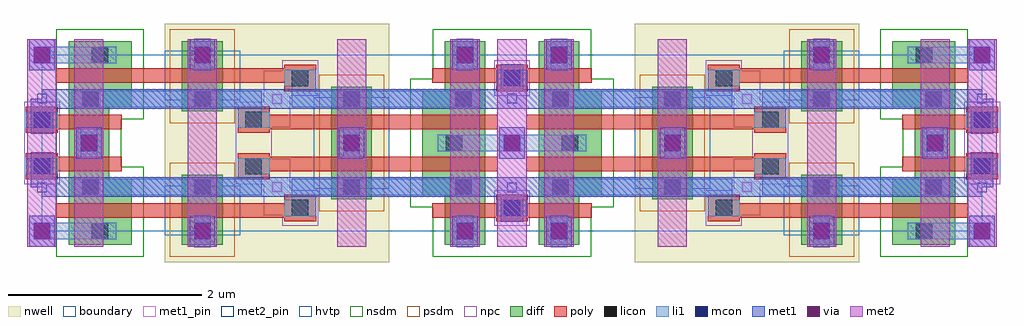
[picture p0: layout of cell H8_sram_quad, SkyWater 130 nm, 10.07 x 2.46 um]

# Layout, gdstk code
from math import pi, radians
import gdstk
lib = gdstk.Library(unit=1e-6, precision=1e-09)
def R(c, l, rs):  # rectangles x0, y0, x1, y1
    for r in rs: c.add(gdstk.rectangle(r[:2], r[2:], *l))
nwell = (64, 20)
diff = (65, 20)
poly = (66, 20)
licon = (66, 44)
li1 = (67, 20)
mcon = (67, 44)
met1_pin = (68, 16)
met1 = (68, 20)
via = (68, 44)
met2_pin = (69, 16)
met2 = (69, 20)
hvtp = (78, 44)
nsdm = (93, 44)
psdm = (94, 20)
npc = (95, 20)
boundary = (235, 4)

h8_sram_bitcell = lib.new_cell('H8_sram_bitcell')
R(h8_sram_bitcell, nwell, [(1.265,-0.32,3.585,1.23)])
R(h8_sram_bitcell, diff, [(0.275,-0.14,0.925,0.54), (1.445,-0.14,1.865,0.58), (4.155,-0.14,4.575,0.37), (2.985,0.33,3.405,1.05), (3.925,0.37,4.575,1.05), (0.275,0.54,0.695,1.05)])
R(h8_sram_bitcell, poly, [(2.5,0.105,2.83,0.14), (4.685,0.105,5.015,0.14), (0.145,0.14,2.83,0.29), (4.025,0.14,5.015,0.29), (2.5,0.29,2.83,0.375), (4.685,0.29,5.015,0.375), (-0.165,0.535,0.165,0.62), (2.02,0.535,2.35,0.62), (-0.165,0.62,0.825,0.77), (2.02,0.62,4.705,0.77), (-0.165,0.77,0.165,0.805), (2.02,0.77,2.35,0.805)])
R(h8_sram_bitcell, licon, [(0.515,-0.085,0.685,0.085), (1.57,-0.085,1.74,0.085), (4.28,-0.085,4.45,0.085), (2.58,0.155,2.75,0.325), (4.765,0.155,4.935,0.325), (0.415,0.37,0.585,0.54), (1.57,0.37,1.74,0.54), (3.11,0.37,3.28,0.54), (4.265,0.37,4.435,0.54), (-0.085,0.585,0.085,0.755), (2.1,0.585,2.27,0.755), (0.4,0.825,0.57,0.995), (3.11,0.825,3.28,0.995), (4.165,0.825,4.335,0.995)])
R(h8_sram_bitcell, li1, [(1.57,-0.165,1.74,0.165), (4.28,-0.165,4.45,0.165), (-0.085,-0.085,0.765,0.085), (2.5,0.155,2.83,0.325), (4.685,0.155,5.015,0.325), (2.58,0.325,2.83,0.37), (0.335,0.37,2.27,0.54), (2.58,0.37,4.515,0.54), (2.02,0.54,2.27,0.585), (-0.165,0.585,0.165,0.755), (2.02,0.585,2.35,0.755), (0.4,0.745,0.57,1.075), (3.11,0.745,3.28,1.075), (4.085,0.825,4.935,0.995)])
R(h8_sram_bitcell, mcon, [(-0.085,-0.085,0.085,0.085), (1.57,-0.085,1.74,0.085), (4.28,-0.085,4.45,0.085), (4.765,0.155,4.935,0.325), (-0.085,0.585,0.085,0.755), (0.4,0.825,0.57,0.995), (3.11,0.825,3.28,0.995), (4.765,0.825,4.935,0.995)])
R(h8_sram_bitcell, met1_pin, [(2.375,0.405,2.475,0.505)])
R(h8_sram_bitcell, met1, [(-0.13,-0.16,0.13,0.16), (1.525,-0.16,1.785,0.16), (4.235,-0.16,4.495,0.16), (4.735,0.095,4.965,0.355), (0,0.355,4.965,0.455), (-0.115,0.455,4.85,0.555), (-0.115,0.555,0.115,0.815), (0.355,0.75,0.615,1.07), (3.065,0.75,3.325,1.07), (4.72,0.75,4.98,1.07)])
R(h8_sram_bitcell, via, [(-0.075,-0.075,0.075,0.075), (1.58,-0.075,1.73,0.075), (4.29,-0.075,4.44,0.075), (0.41,0.835,0.56,0.985), (3.12,0.835,3.27,0.985), (4.775,0.835,4.925,0.985)])
R(h8_sram_bitcell, met2_pin, [(-0.05,0.4,0.05,0.5), (0.435,0.4,0.535,0.5), (1.605,0.4,1.705,0.5), (3.145,0.4,3.245,0.5), (4.315,0.4,4.415,0.5), (4.8,0.4,4.9,0.5)])
R(h8_sram_bitcell, met2, [(-0.15,-0.16,0.15,1.07), (0.335,-0.16,0.635,1.07), (1.505,-0.16,1.805,1.07), (3.045,-0.16,3.345,1.07), (4.215,-0.16,4.515,1.07), (4.7,-0.16,5,1.07)])
R(h8_sram_bitcell, hvtp, [(1.265,-0.04,2.045,0.47), (2.805,0.44,3.585,0.95)])
R(h8_sram_bitcell, nsdm, [(0.15,-0.265,1.05,0.665), (4.03,-0.265,4.7,0.245), (3.8,0.245,4.7,1.175), (0.15,0.665,0.82,1.175)])
R(h8_sram_bitcell, psdm, [(1.32,-0.265,1.99,0.705), (2.86,0.205,3.53,1.175)])
R(h8_sram_bitcell, npc, [(2.48,0.055,2.85,0.165), (4.665,0.055,5.035,0.425), (2.29,0.165,2.85,0.425), (2.29,0.425,2.56,0.485), (-0.185,0.485,0.185,0.855), (2,0.485,2.56,0.745), (2,0.745,2.37,0.855)])
R(h8_sram_bitcell, boundary, [(0,0,4.85,0.91)])
h8_sram_bitcell.add(gdstk.Label('WL', (2.425,0.455), layer=68, texttype=5))
h8_sram_bitcell.add(gdstk.Label('BL', (0.485,0.45), layer=69, texttype=5))
h8_sram_bitcell.add(gdstk.Label('BLB', (4.365,0.45), layer=69, texttype=5))
h8_sram_bitcell.add(gdstk.Label('VDD', (3.195,0.45), layer=69, texttype=5))
h8_sram_bitcell.add(gdstk.Label('VDD', (1.655,0.45), layer=69, texttype=5))
h8_sram_bitcell.add(gdstk.Label('GND', (4.85,0.45), layer=69, texttype=5))
h8_sram_bitcell.add(gdstk.Label('GND', (0,0.45), layer=69, texttype=5))

h8_sram_quad = lib.new_cell('H8_sram_quad')
R(h8_sram_quad, nsdm, [(4.7,-0.265,5,2.085)])
R(h8_sram_quad, npc, [(-0.185,0.855,0.185,0.965), (2,0.855,2.37,0.965), (7.33,0.855,7.7,0.965), (9.515,0.855,9.885,0.965)])
R(h8_sram_quad, boundary, [(0,0,9.7,1.82)])
h8_sram_quad.add(gdstk.Reference(h8_sram_bitcell, (9.7,1.82), rotation=pi))
h8_sram_quad.add(gdstk.Reference(h8_sram_bitcell, (0,1.82), x_reflection=True))
h8_sram_quad.add(gdstk.Reference(h8_sram_bitcell, (9.7,0), rotation=pi, x_reflection=True))
h8_sram_quad.add(gdstk.Reference(h8_sram_bitcell, (0,0)))

lib.write_gds('H8_sram_quad.gds')
